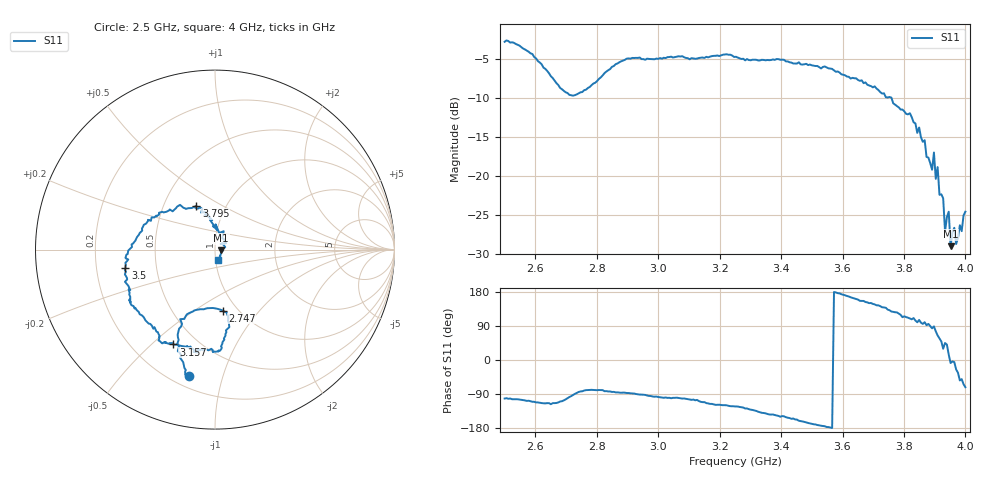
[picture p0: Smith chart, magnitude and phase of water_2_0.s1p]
# MHz S MA R 50
!  freq  S11
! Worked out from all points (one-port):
!   250 points, 2.5 GHz to 4 GHz, reference 50 ohm
!   lowest |S11| = -29.0 dB at 3.952 GHz (marker M1), VSWR 1.07, Z = 53.6 - j0.522 ohm
!   |S11| at or under -10 dB: 3.759 GHz to end of sweep
!   S11 on the Smith chart (normalised r, x): 2.5 GHz: 0.26, -0.78; 2.747 GHz: 0.85, -0.66; 3.157 GHz: 0.37, -0.59; 3.5 GHz: 0.33, -0.09; 3.795 GHz: 0.73, +0.38; 4 GHz: 1.03, -0.12
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2500  0.721 -101.7
2620.482  0.5178 -113.7
2692.771  0.3495 -106.5
2746.988  0.342 -83.0
2879.518  0.5407 -86.4
3066.265  0.5823 -100.1
3156.627  0.5775 -113.7
3253.012  0.5781 -122.7
3439.759  0.5233 -154.5
3500  0.5095 -168.4
3626.506  0.4191 165.4
3795.181  0.2652 113.0
3813.253  0.247 111.7
3867.47  0.1687 99.7
3891.566  0.1091 83.6
3897.59  0.1407 88.6
3903.614  0.09541 75.7
3909.639  0.1134 64.7
3915.663  0.0753 57.1
3927.711  0.07155 29.6
3933.735  0.04371 44.8
3945.783  0.05876 14.0
3951.807  0.03531 -7.9
3963.855  0.04632 -5.5
3969.88  0.03644 -24.9
3981.928  0.04806 -53.9
3987.952  0.04407 -50.5
4000  0.05878 -71.8
